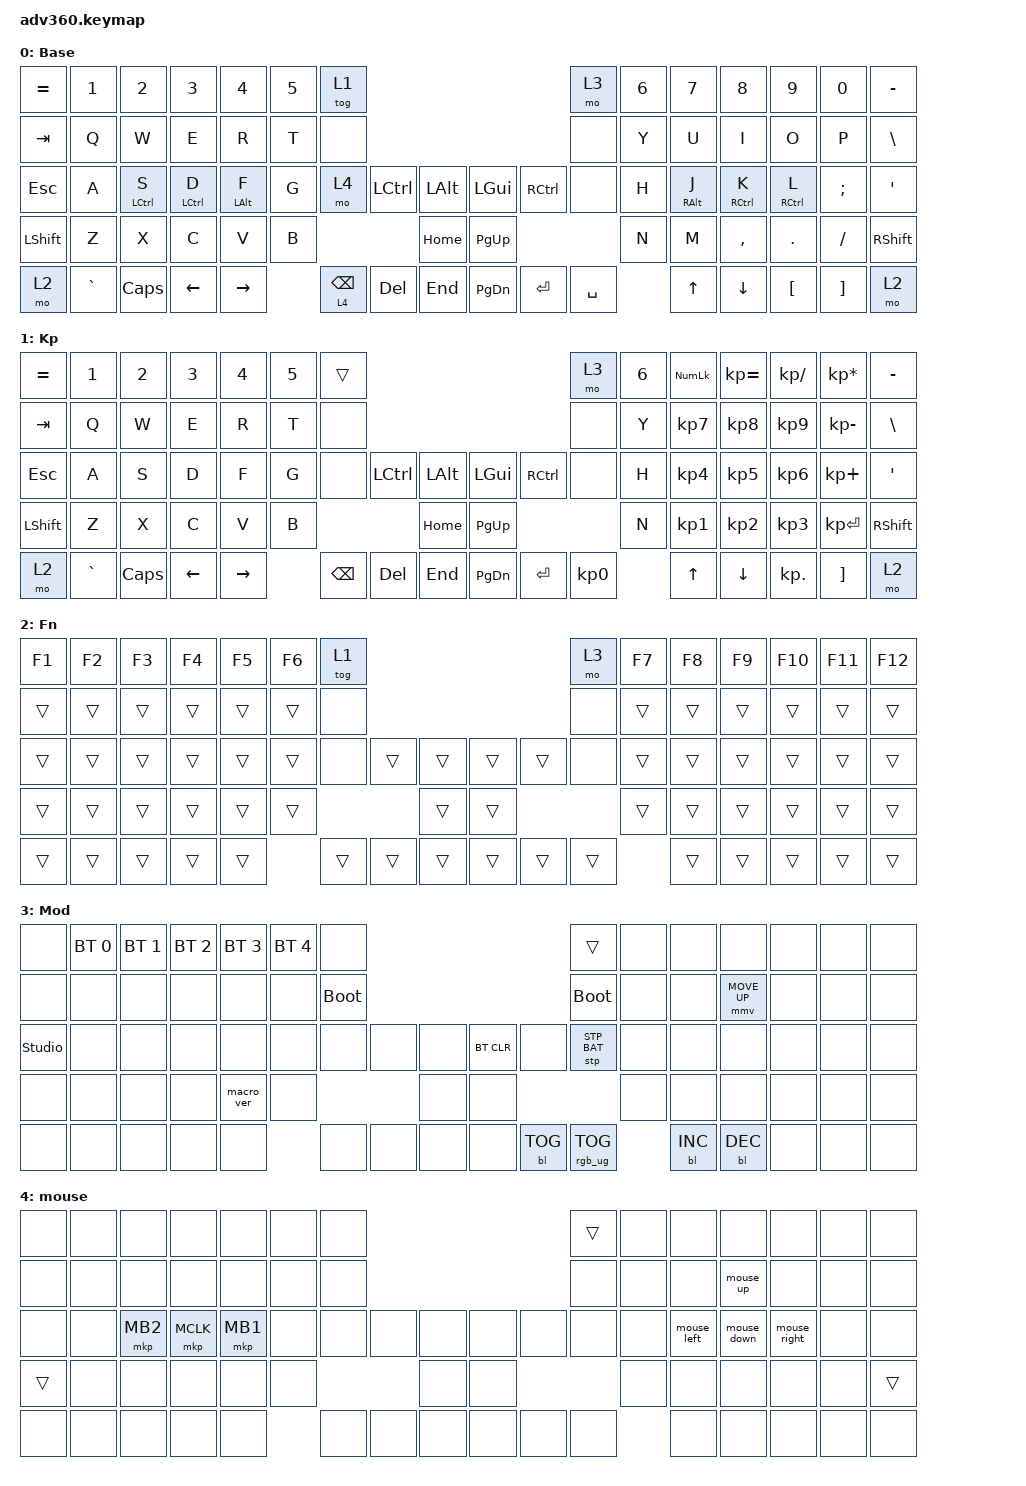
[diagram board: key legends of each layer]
#include <dt-bindings/zmk/stp.h>
#include <behaviors.dtsi>
#include <dt-bindings/zmk/backlight.h>
#include <dt-bindings/zmk/bt.h>
#include <dt-bindings/zmk/keys.h>
#include <dt-bindings/zmk/pointing.h>
#include <dt-bindings/zmk/rgb.h>

&mmv {
    time-to-max-speed-ms = <177>;
    acceleration-exponent = <1>;
};

/ {
    behaviors {
        #include "macros.dtsi"
      #include "version.dtsi"

        hrm: hrm {
            compatible = "zmk,behavior-hold-tap";
            label = "HRM";
            bindings = <&kp>, <&kp>;

            #binding-cells = <2>;
            tapping-term-ms = <185>;
            quick-tap-ms = <180>;
            require-prior-idle-ms = <120>;
            flavor = "balanced";
        };

        mouse_left: mouse_left {
            compatible = "zmk,behavior-mod-morph";
            label = "MOUSE_LEFT";
            bindings = <&mmv MOVE_LEFT>, <&msc SCRL_LEFT>;

            #binding-cells = <0>;
            mods = <(MOD_LSFT|MOD_RSFT)>;
        };

        mouse_right: mouse_right {
            compatible = "zmk,behavior-mod-morph";
            label = "MOUSE_RIGHT";
            bindings = <&mmv MOVE_RIGHT>, <&msc SCRL_RIGHT>;

            #binding-cells = <0>;
            mods = <(MOD_LSFT|MOD_RSFT)>;
        };

        mouse_up: mouse_up {
            compatible = "zmk,behavior-mod-morph";
            label = "MOUSE_UP";
            bindings = <&mmv MOVE_UP>, <&msc SCRL_UP>;

            #binding-cells = <0>;
            mods = <(MOD_LSFT|MOD_RSFT)>;
        };

        mouse_down: mouse_down {
            compatible = "zmk,behavior-mod-morph";
            label = "MOUSE_DOWN";
            bindings = <&mmv MOVE_DOWN>, <&msc SCRL_DOWN>;

            #binding-cells = <0>;
            mods = <(MOD_LSFT|MOD_RSFT)>;
        };

        hr_mo: hr_mo {
            compatible = "zmk,behavior-hold-tap";
            label = "HR_MO";
            bindings = <&mo>, <&kp>;

            #binding-cells = <2>;
            tapping-term-ms = <185>;
            quick-tap-ms = <180>;
            require-prior-idle-ms = <120>;
            flavor = "balanced";
        };
    };

    keymap {
        compatible = "zmk,keymap";

        default_layer {
            display-name = "Base";
            bindings = <
&kp EQUAL  &kp N1     &kp N2        &kp N3        &kp N4           &kp N5  &tog 1                                                             &mo 3      &kp N6  &kp N7            &kp N8        &kp N9        &kp N0         &kp MINUS
&kp TAB    &kp Q      &kp W         &kp E         &kp R            &kp T   &none                                                              &none      &kp Y   &kp U             &kp I         &kp O         &kp P          &kp BSLH
&kp ESC    &kp A      &hrm LCTRL S  &hrm LCTRL D  &hrm LEFT_ALT F  &kp G   &mo 4               &kp LCTRL  &kp LALT      &kp LGUI   &kp RCTRL  &none      &kp H   &hrm RIGHT_ALT J  &hrm RCTRL K  &hrm RCTRL L  &kp SEMICOLON  &kp SQT
&kp LSHFT  &kp Z      &kp X         &kp C         &kp V            &kp B                                  &kp HOME      &kp PG_UP                        &kp N   &kp M             &kp COMMA     &kp DOT       &kp FSLH       &kp RSHFT
&mo 2      &kp GRAVE  &kp CAPS      &kp LEFT      &kp RIGHT                &hr_mo 4 BACKSPACE  &kp DEL    &kp END       &kp PG_DN  &kp ENTER  &kp SPACE          &kp UP            &kp DOWN      &kp LBKT      &kp RBKT       &mo 2
            >;
        };

        keypad {
            display-name = "Kp";
            bindings = <
&kp EQUAL  &kp N1     &kp N2    &kp N3    &kp N4     &kp N5  &trans                                                   &mo 3      &kp N6  &kp KP_NUM  &kp KP_EQUAL  &kp KP_DIVIDE  &kp KP_MULTIPLY  &kp MINUS
&kp TAB    &kp Q      &kp W     &kp E     &kp R      &kp T   &none                                                    &none      &kp Y   &kp KP_N7   &kp KP_N8     &kp KP_N9      &kp KP_MINUS     &kp BSLH
&kp ESC    &kp A      &kp S     &kp D     &kp F      &kp G   &none     &kp LCTRL  &kp LALT      &kp LGUI   &kp RCTRL  &none      &kp H   &kp KP_N4   &kp KP_N5     &kp KP_N6      &kp KP_PLUS      &kp SQT
&kp LSHFT  &kp Z      &kp X     &kp C     &kp V      &kp B                        &kp HOME      &kp PG_UP                        &kp N   &kp KP_N1   &kp KP_N2     &kp KP_N3      &kp KP_ENTER     &kp RSHFT
&mo 2      &kp GRAVE  &kp CAPS  &kp LEFT  &kp RIGHT          &kp BSPC  &kp DEL    &kp END       &kp PG_DN  &kp ENTER  &kp KP_N0          &kp UP      &kp DOWN      &kp KP_DOT     &kp RBKT         &mo 2
            >;
        };

        fn {
            display-name = "Fn";
            bindings = <
&kp F1  &kp F2  &kp F3  &kp F4  &kp F5  &kp F6  &tog 1                                      &mo 3   &kp F7  &kp F8  &kp F9  &kp F10  &kp F11  &kp F12
&trans  &trans  &trans  &trans  &trans  &trans  &none                                       &none   &trans  &trans  &trans  &trans   &trans   &trans
&trans  &trans  &trans  &trans  &trans  &trans  &none   &trans  &trans      &trans  &trans  &none   &trans  &trans  &trans  &trans   &trans   &trans
&trans  &trans  &trans  &trans  &trans  &trans                  &trans      &trans                  &trans  &trans  &trans  &trans   &trans   &trans
&trans  &trans  &trans  &trans  &trans          &trans  &trans  &trans      &trans  &trans  &trans          &trans  &trans  &trans   &trans   &trans
            >;
        };

        mod {
            display-name = "Mod";
            bindings = <
&none           &bt BT_SEL 0  &bt BT_SEL 1  &bt BT_SEL 2  &bt BT_SEL 3  &bt BT_SEL 4  &none                                                  &trans           &none  &none       &none         &none  &none  &none
&none           &none         &none         &none         &none         &none         &bootloader                                            &bootloader      &none  &none       &mmv MOVE_UP  &none  &none  &none
&studio_unlock  &none         &none         &none         &none         &none         &none        &none  &none      &bt BT_CLR  &none       &stp STP_BAT     &none  &none       &none         &none  &none  &none
&none           &none         &none         &none         &macro_ver    &none                             &none      &none                                    &none  &none       &none         &none  &none  &none
&none           &none         &none         &none         &none                       &none        &none  &none      &none       &bl BL_TOG  &rgb_ug RGB_TOG         &bl BL_INC  &bl BL_DEC    &none  &none  &none
            >;
        };

        mouse {
            display-name = "mouse";
            bindings = <
&none   &none  &none     &none      &none     &none  &none                                  &trans  &none  &none        &none        &none         &none  &none
&none   &none  &none     &none      &none     &none  &none                                  &none   &none  &none        &mouse_up    &none         &none  &none
&none   &none  &mkp MB2  &mkp MCLK  &mkp MB1  &none  &none  &none  &none      &none  &none  &none   &none  &mouse_left  &mouse_down  &mouse_right  &none  &none
&trans  &none  &none     &none      &none     &none                &none      &none                 &none  &none        &none        &none         &none  &trans
&none   &none  &none     &none      &none            &none  &none  &none      &none  &none  &none          &none        &none        &none         &none  &none
            >;
        };

        extra1 {
            display-name = "Red";
            status = "reserved";
        };

        extra2 {
            display-name = "Purple";
            status = "reserved";
        };

        extra3 {
            display-name = "Cyan";
            status = "reserved";
        };

        extra4 {
            display-name = "Yellow";
            status = "reserved";
        };
    };
};
